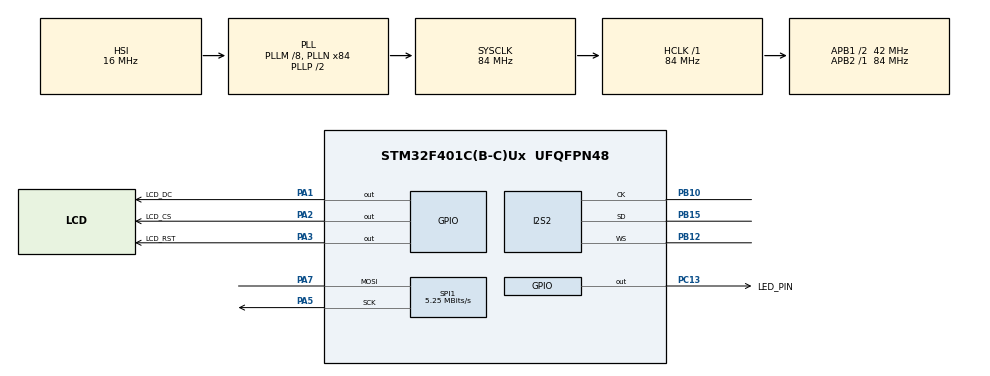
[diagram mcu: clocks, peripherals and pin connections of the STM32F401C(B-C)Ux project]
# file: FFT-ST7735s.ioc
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Dma.Request0=SPI2_RX
Dma.SPI2_RX.0.Direction=DMA_PERIPH_TO_MEMORY
Dma.SPI2_RX.0.FIFOMode=DMA_FIFOMODE_DISABLE
Dma.SPI2_RX.0.Instance=DMA1_Stream3
Dma.SPI2_RX.0.MemDataAlignment=DMA_MDATAALIGN_HALFWORD
Dma.SPI2_RX.0.MemInc=DMA_MINC_ENABLE
Dma.SPI2_RX.0.Mode=DMA_CIRCULAR
Dma.SPI2_RX.0.PeriphDataAlignment=DMA_PDATAALIGN_HALFWORD
Dma.SPI2_RX.0.PeriphInc=DMA_PINC_DISABLE
Dma.SPI2_RX.0.Priority=DMA_PRIORITY_HIGH
FREERTOS.BinarySemaphores01=DataReadySem,Dynamic,NULL,Available
FREERTOS.Queues01=FFTQueue,4,256,1,Dynamic,NULL,NULL
FREERTOS.Tasks01=Display_Task,8,256,StartDisplay_Task,Default,NULL,Dynamic,NULL,NULL;Audio_Task,40,256,StartAudio_Task,Default,NULL,Dynamic,NULL,NULL;FFT_Task,32,512,StartFFT_Task,Default,NULL,Dynamic,NULL,NULL
FREERTOS.configTOTAL_HEAP_SIZE=15360
I2S2.AudioFreq=I2S_AUDIOFREQ_44K
I2S2.DataFormat=I2S_DATAFORMAT_16B_EXTENDED
I2S2.ErrorAudioFreq=-1.35 %
I2S2.FullDuplexMode=I2S_FULLDUPLEXMODE_DISABLE
I2S2.Instance=SPI$Index
I2S2.Mode=I2S_MODE_MASTER_RX
I2S2.RealAudioFreq=43.402 KHz
I2S2.VirtualMode=I2S_MODE_MASTER
Mcu.Family=STM32F4
Mcu.Name=STM32F401C(B-C)Ux
Mcu.Package=UFQFPN48
NVIC.DMA1_Stream3_IRQn=true\:5\:0\:false\:false\:true\:true\:false\:true\:true
NVIC.PriorityGroup=NVIC_PRIORITYGROUP_4
PA1.GPIO_Label=LCD_DC
PA1.GPIO_Speed=GPIO_SPEED_FREQ_HIGH
PA1.PinState=GPIO_PIN_RESET
PA1.Signal=GPIO_Output
PA13.Mode=Serial_Wire
PA13.Signal=SYS_JTMS-SWDIO
PA14.Mode=Serial_Wire
PA14.Signal=SYS_JTCK-SWCLK
PA2.GPIO_Label=LCD_CS
PA2.GPIO_Speed=GPIO_SPEED_FREQ_HIGH
PA2.Signal=GPIO_Output
PA3.GPIO_Label=LCD_RST
PA3.GPIO_Speed=GPIO_SPEED_FREQ_HIGH
PA3.Signal=GPIO_Output
PA5.Mode=Simplex_Bidirectional_Master
PA5.Signal=SPI1_SCK
PA7.Mode=Simplex_Bidirectional_Master
PA7.Signal=SPI1_MOSI
PB10.Mode=Half_Duplex_Master
PB10.Signal=I2S2_CK
PB12.Mode=Half_Duplex_Master
PB12.Signal=I2S2_WS
PB15.Mode=Half_Duplex_Master
PB15.Signal=I2S2_SD
PC13-ANTI_TAMP.GPIO_Label=LED_PIN
PC13-ANTI_TAMP.PinState=GPIO_PIN_SET
PC13-ANTI_TAMP.Signal=GPIO_Output
PH0\ -\ OSC_IN.Mode=HSE-External-Oscillator
PH0\ -\ OSC_IN.Signal=RCC_OSC_IN
PH1\ -\ OSC_OUT.Mode=HSE-External-Oscillator
PH1\ -\ OSC_OUT.Signal=RCC_OSC_OUT
ProjectManager.HeapSize=0x200
ProjectManager.StackSize=0x400
ProjectManager.TargetToolchain=STM32CubeIDE
RCC.48MHZClocksFreq_Value=42000000
RCC.AHBFreq_Value=84000000
RCC.APB1CLKDivider=RCC_HCLK_DIV2
RCC.APB1Freq_Value=42000000
RCC.APB1TimFreq_Value=84000000
RCC.APB2Freq_Value=84000000
RCC.APB2TimFreq_Value=84000000
RCC.CortexFreq_Value=84000000
RCC.HCLKFreq_Value=84000000
RCC.HSE_VALUE=25000000
RCC.HSI_VALUE=16000000
RCC.LSE_VALUE=32768
RCC.PLLI2SN=50
RCC.PLLM=8
RCC.PLLN=84
RCC.SYSCLKFreq_VALUE=84000000
RCC.SYSCLKSource=RCC_SYSCLKSOURCE_PLLCLK
RCC.VCOOutputFreq_Value=168000000
SPI1.BaudRatePrescaler=SPI_BAUDRATEPRESCALER_16
SPI1.CalculateBaudRate=5.25 MBits/s
SPI1.Direction=SPI_DIRECTION_1LINE
SPI1.Mode=SPI_MODE_MASTER
SPI1.VirtualType=VM_MASTER
VP_FREERTOS_VS_CMSIS_V2.Mode=CMSIS_V2
board=custom

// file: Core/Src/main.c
/* USER CODE BEGIN Header */
/**
  ******************************************************************************
  * @file           : main.c
  * @brief          : Main program body
  ******************************************************************************
  * @attention
  *
  * Copyright (c) 2026 STMicroelectronics.
  * All rights reserved.
  *
  * This software is licensed under terms that can be found in the LICENSE file
  * in the root directory of this software component.
  * If no LICENSE file comes with this software, it is provided AS-IS.
  *
  ******************************************************************************
  */
/* USER CODE END Header */
#include "main.h"
#include "cmsis_os.h"
#include "dma.h"
#include "i2s.h"
#include "spi.h"
#include "gpio.h"

/* USER CODE BEGIN Includes */
#include "ST7735.h"

#include "arm_math.h"
/* USER CODE END Includes */

/* USER CODE BEGIN PTD */
void prepare_data(int32_t *src);
/* USER CODE END PTD */

/* USER CODE BEGIN PD */
#define FFT_SIZE 512
#define I2S_BUF_SIZE (FFT_SIZE * 2) // Для стерео-фреймов
/* USER CODE END PD */

/* USER CODE BEGIN PV */
int32_t i2s_rx_buf[I2S_BUF_SIZE * 2]; // Умножаем на 2 для double buffering
float32_t fft_input[FFT_SIZE];
float32_t fft_output[FFT_SIZE];
float32_t window[FFT_SIZE];

volatile uint8_t data_ready_flag = 0;
arm_rfft_fast_instance_f32 fft_handler;
/* USER CODE END PV */

void SystemClock_Config(void);
void MX_FREERTOS_Init(void);

int main(void)
{

  /* MCU Configuration--------------------------------------------------------*/

  /* Reset of all peripherals, Initializes the Flash interface and the Systick. */
  HAL_Init();

  /* Configure the system clock */
  SystemClock_Config();

  /* Initialize all configured peripherals */
  MX_GPIO_Init();
  MX_DMA_Init();
  MX_SPI1_Init();
  MX_I2S2_Init();
  /* USER CODE BEGIN 2 */
  // Инициализация структуры FFT для float32
  arm_rfft_fast_init_f32(&fft_handler, FFT_SIZE);
  // Окно Хэмминга убирает "размазывание" спектра
  for(int i=0; i<FFT_SIZE; i++) {
      window[i] = 0.54f - 0.46f * cosf(2.0f * 3.1415f * i / (FFT_SIZE - 1));
  }

  // Запуск циклического приема I2S через DMA
  // Используем (I2S_BUF_SIZE), так как передаем 32-битные слова
  HAL_I2S_Receive_DMA(&hi2s2, (uint16_t *)i2s_rx_buf, I2S_BUF_SIZE);

  /* USER CODE END 2 */

  /* Init scheduler */
  osKernelInitialize();  /* Call init function for freertos objects (in cmsis_os2.c) */
  MX_FREERTOS_Init();

  /* Start scheduler */
  osKernelStart();

  /* We should never get here as control is now taken by the scheduler */

  /* Infinite loop */
  while (1)
  {

  }
}

void SystemClock_Config(void)
{
  RCC_OscInitTypeDef RCC_OscInitStruct = {0};
  RCC_ClkInitTypeDef RCC_ClkInitStruct = {0};

  /** Configure the main internal regulator output voltage
  */
  __HAL_RCC_PWR_CLK_ENABLE();
  __HAL_PWR_VOLTAGESCALING_CONFIG(PWR_REGULATOR_VOLTAGE_SCALE2);

  /** Initializes the RCC Oscillators according to the specified parameters
  * in the RCC_OscInitTypeDef structure.
  */
  RCC_OscInitStruct.OscillatorType = RCC_OSCILLATORTYPE_HSI;
  RCC_OscInitStruct.HSIState = RCC_HSI_ON;
  RCC_OscInitStruct.HSICalibrationValue = RCC_HSICALIBRATION_DEFAULT;
  RCC_OscInitStruct.PLL.PLLState = RCC_PLL_ON;
  RCC_OscInitStruct.PLL.PLLSource = RCC_PLLSOURCE_HSI;
  RCC_OscInitStruct.PLL.PLLM = 8;
  RCC_OscInitStruct.PLL.PLLN = 84;
  RCC_OscInitStruct.PLL.PLLP = RCC_PLLP_DIV2;
  RCC_OscInitStruct.PLL.PLLQ = 4;
  if (HAL_RCC_OscConfig(&RCC_OscInitStruct) != HAL_OK)
  {
    Error_Handler();
  }

  /** Initializes the CPU, AHB and APB buses clocks
  */
  RCC_ClkInitStruct.ClockType = RCC_CLOCKTYPE_HCLK|RCC_CLOCKTYPE_SYSCLK
                              |RCC_CLOCKTYPE_PCLK1|RCC_CLOCKTYPE_PCLK2;
  RCC_ClkInitStruct.SYSCLKSource = RCC_SYSCLKSOURCE_PLLCLK;
  RCC_ClkInitStruct.AHBCLKDivider = RCC_SYSCLK_DIV1;
  RCC_ClkInitStruct.APB1CLKDivider = RCC_HCLK_DIV2;
  RCC_ClkInitStruct.APB2CLKDivider = RCC_HCLK_DIV1;

  if (HAL_RCC_ClockConfig(&RCC_ClkInitStruct, FLASH_LATENCY_2) != HAL_OK)
  {
    Error_Handler();
  }
}

/* USER CODE BEGIN 4 */
void prepare_data(int32_t *src) {
    for (int i = 0; i < FFT_SIZE; i++) {
        // Берем те самые ячейки со скрина (1, 5, 9...)
        // Приводим к int16_t, чтобы 57340 превратилось в адекватное -8196
        int16_t sample = (int16_t)src[i * 2 + 1];

        // Превращаем во float для FFT
        fft_input[i] = (float32_t)sample;
    }
    data_ready_flag = 1;
}

void HAL_I2S_RxCpltCallback(I2S_HandleTypeDef *hi2s) {
    prepare_data(&i2s_rx_buf[I2S_BUF_SIZE/2]);
}

void HAL_I2S_RxHalfCpltCallback(I2S_HandleTypeDef *hi2s) {
    prepare_data(&i2s_rx_buf[0]);
}

/* USER CODE END 4 */

void Error_Handler(void)
{
  __disable_irq();
  while (1)
  {
  }
}

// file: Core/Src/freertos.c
/* USER CODE BEGIN Header */
/**
  ******************************************************************************
  * File Name          : freertos.c
  * Description        : Code for freertos applications
  ******************************************************************************
  * @attention
  *
  * Copyright (c) 2026 STMicroelectronics.
  * All rights reserved.
  *
  * This software is licensed under terms that can be found in the LICENSE file
  * in the root directory of this software component.
  * If no LICENSE file comes with this software, it is provided AS-IS.
  *
  ******************************************************************************
  */
/* USER CODE END Header */

#include "FreeRTOS.h"
#include "task.h"
#include "main.h"
#include "cmsis_os.h"

/* USER CODE BEGIN Includes */
#include "arm_math.h"
#include "st7735.h"

#define FFT_SIZE 512

extern float32_t fft_input[];
extern float32_t fft_output[];
extern float32_t window[];
extern volatile uint8_t data_ready_flag;
extern arm_rfft_fast_instance_f32 fft_handler;

/* USER CODE END Includes */

/* Definitions for Display_Task */
osThreadId_t Display_TaskHandle;
const osThreadAttr_t Display_Task_attributes = {
  .name = "Display_Task",
  .stack_size = 256 * 4,
  .priority = (osPriority_t) osPriorityLow,
};
/* Definitions for Audio_Task */
osThreadId_t Audio_TaskHandle;
const osThreadAttr_t Audio_Task_attributes = {
  .name = "Audio_Task",
  .stack_size = 256 * 4,
  .priority = (osPriority_t) osPriorityHigh,
};
/* Definitions for FFT_Task */
osThreadId_t FFT_TaskHandle;
const osThreadAttr_t FFT_Task_attributes = {
  .name = "FFT_Task",
  .stack_size = 512 * 4,
  .priority = (osPriority_t) osPriorityAboveNormal,
};
/* Definitions for FFTQueue */
osMessageQueueId_t FFTQueueHandle;
const osMessageQueueAttr_t FFTQueue_attributes = {
  .name = "FFTQueue"
};
/* Definitions for DataReadySem */
osSemaphoreId_t DataReadySemHandle;
const osSemaphoreAttr_t DataReadySem_attributes = {
  .name = "DataReadySem"
};

void StartDisplay_Task(void *argument);
void StartAudio_Task(void *argument);
void StartFFT_Task(void *argument);

void MX_FREERTOS_Init(void); /* (MISRA C 2004 rule 8.1) */

void MX_FREERTOS_Init(void) {

  /* Create the semaphores(s) */
  /* creation of DataReadySem */
  DataReadySemHandle = osSemaphoreNew(1, 1, &DataReadySem_attributes);

  /* Create the queue(s) */
  /* creation of FFTQueue */
  FFTQueueHandle = osMessageQueueNew (4, 256, &FFTQueue_attributes);

  /* Create the thread(s) */
  /* creation of Display_Task */
  Display_TaskHandle = osThreadNew(StartDisplay_Task, NULL, &Display_Task_attributes);

  /* creation of Audio_Task */
  Audio_TaskHandle = osThreadNew(StartAudio_Task, NULL, &Audio_Task_attributes);

  /* creation of FFT_Task */
  FFT_TaskHandle = osThreadNew(StartFFT_Task, NULL, &FFT_Task_attributes);

}

void StartDisplay_Task(void *argument)
{
  /* USER CODE BEGIN StartDisplay_Task */
//	ST7735_Init();
//		ST7735_FillScreen(ST7735_BLACK);

	  /* Infinite loop */
	  for(;;)
	  {
//		  // Тест 1: Текст с разными поворотами
//		  ST7735_FillScreen(ST7735_BLACK);
//		      ST7735_WriteString(0, 0, "BLACK", Font_11x18, ST7735_WHITE, ST7735_BLACK);
//		      osDelay(1000); // 200 мс
//
//		      ST7735_FillScreen(ST7735_BLUE);
//		      ST7735_WriteString(0, 0, "BLUE", Font_11x18, ST7735_BLACK, ST7735_BLUE);
//		      osDelay(1000); // 200 мс
//
//		      ST7735_FillScreen(ST7735_RED);
//		      ST7735_WriteString(0, 0, "RED", Font_11x18, ST7735_BLACK, ST7735_RED);
//		      osDelay(1000); // 200 мс
//
//		      ST7735_FillScreen(ST7735_GREEN);
//		      ST7735_WriteString(0, 0, "GREEN", Font_11x18, ST7735_BLACK, ST7735_GREEN);
//		      osDelay(1000); // 200 мс
//
//		      ST7735_FillScreen(ST7735_CYAN);
//		      ST7735_WriteString(0, 0, "CYAN", Font_11x18, ST7735_BLACK, ST7735_CYAN);
//		      osDelay(1000); // 200 мс
//
//		      ST7735_FillScreen(ST7735_MAGENTA);
//		      ST7735_WriteString(0, 0, "MAGENTA", Font_11x18, ST7735_BLACK, ST7735_MAGENTA);
//		      osDelay(1000); // 200 мс
//
//		      ST7735_FillScreen(ST7735_YELLOW);
//		      ST7735_WriteString(0, 0, "YELLOW", Font_11x18, ST7735_BLACK, ST7735_YELLOW);
//		      osDelay(1000); // 200 мс
//
//		      ST7735_FillScreen(ST7735_WHITE);
//		      ST7735_WriteString(0, 0, "WHITE", Font_11x18, ST7735_BLACK, ST7735_WHITE);
		      osDelay(1); // 200 мс

  }
  /* USER CODE END StartDisplay_Task */
}

void StartAudio_Task(void *argument)
{
  for(;;)
  {
    osDelay(1);
  }
}

void StartFFT_Task(void *argument)
{
  /* USER CODE BEGIN StartFFT_Task */
	  // Внутренние переменные задачи
	static int prev_heights[160] = {0};

	  float32_t mean;
	  float32_t raw_mag;
	  float32_t mag_db;
	  int col_height;
	  uint16_t color;
	  // Очистка экрана перед стартом
	  ST7735_Init();
	  ST7735_FillScreen(ST7735_BLACK);
  /* Infinite loop */
  for(;;)
  {
	  if(data_ready_flag)
	      {
	        data_ready_flag = 0;

	        // 1. Убираем постоянку (DC Offset)
	        arm_mean_f32(fft_input, FFT_SIZE, &mean);
	        arm_offset_f32(fft_input, -mean, fft_input, FFT_SIZE);

	        // 2. Окно Хэмминга (улучшает четкость)
	        arm_mult_f32(fft_input, window, fft_input, FFT_SIZE);

	        // 3. FFT
	        arm_rfft_fast_f32(&fft_handler, fft_input, fft_output, 0);
	        arm_cmplx_mag_f32(fft_output, fft_output, FFT_SIZE/2);

	        // 4. Отрисовка 160 столбиков
	        for (int i = 0; i < 160; i++)
	        {
	          // Берем амплитуду (пропускаем шум в самом начале спектра)
	        raw_mag = fft_output[i + 2];

	          // Логарифм (дБ).
	          // Если числа маленькие (как 14), mag_db будет около 20-40.
	          // Если числа большие (как 50000), mag_db будет около 90-100.
	         mag_db = 20.0f * log10f(raw_mag + 1.0f);

	          // --- НАСТРОЙКА ПОД ТВОЙ СКРИНШОТ ---
	          // Попробуем вычесть 45.0f.
	          // Если всё еще "красная стена" — УВЕЛИЧИВАЙ до 55.0, 60.0.
	          // Если экран станет черным — УМЕНЬШАЙ до 35.0, 30.0.
	          int col_height = (int)((mag_db - 45.0f) * 2.2f);

	         if (col_height < 0) col_height = 0;
	         if (col_height > 80) col_height = 80;

	          // Плавное падение (Гравитация)
	          if (col_height < prev_heights[i]) {
	              col_height = prev_heights[i] - 2;
	          }
	          prev_heights[i] = col_height;

	          // Цвет (Градиент)
	          if (col_height > 60) color = ST7735_RED;
	          else if (col_height > 30) color = ST7735_YELLOW;
	          else color = ST7735_GREEN;

	          // Рисуем
	          if (80 - col_height > 0) {
	              ST7735_FillRectangle(i, 0, 1, 80 - col_height, ST7735_BLACK);
	          }
	          if (col_height > 0) {
	              ST7735_FillRectangle(i, 80 - col_height, 1, col_height, color);
	          }
	        }
	      }
	      osDelay(1);
  }
  /* USER CODE END StartFFT_Task */
}
